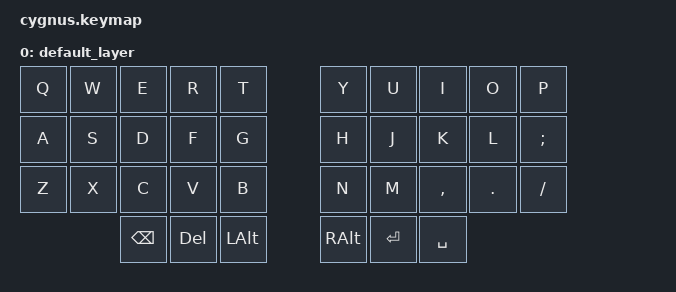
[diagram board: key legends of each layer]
/*
 * Copyright (c) 2020 The ZMK Contributors
 *
 * SPDX-License-Identifier: MIT
 */

#include <behaviors.dtsi>
#include <dt-bindings/zmk/keys.h>
#include <dt-bindings/zmk/bt.h>

/ {
keymap {
	compatible = "zmk,keymap";
	
	default_layer {
		bindings = <
			&kp Q 	   	 &kp W 		&kp E		&kp R		&kp T				&kp Y 		&kp U		&kp I		&kp O		&kp P
			&kp A            &kp S 		&kp D		&kp F	 	&kp G		 		&kp H 		&kp J		&kp K		&kp L 		&kp SEMICOLON
			&kp Z            &kp X		&kp C 		&kp V 		&kp B   			&kp N		&kp M  		&kp COMMA 	&kp DOT 	&kp FSLH
							&kp BSPC	&kp DEL 	&kp LALT			&kp RALT	&kp RET	        &kp SPACE	 
		>;
	};
};
};
